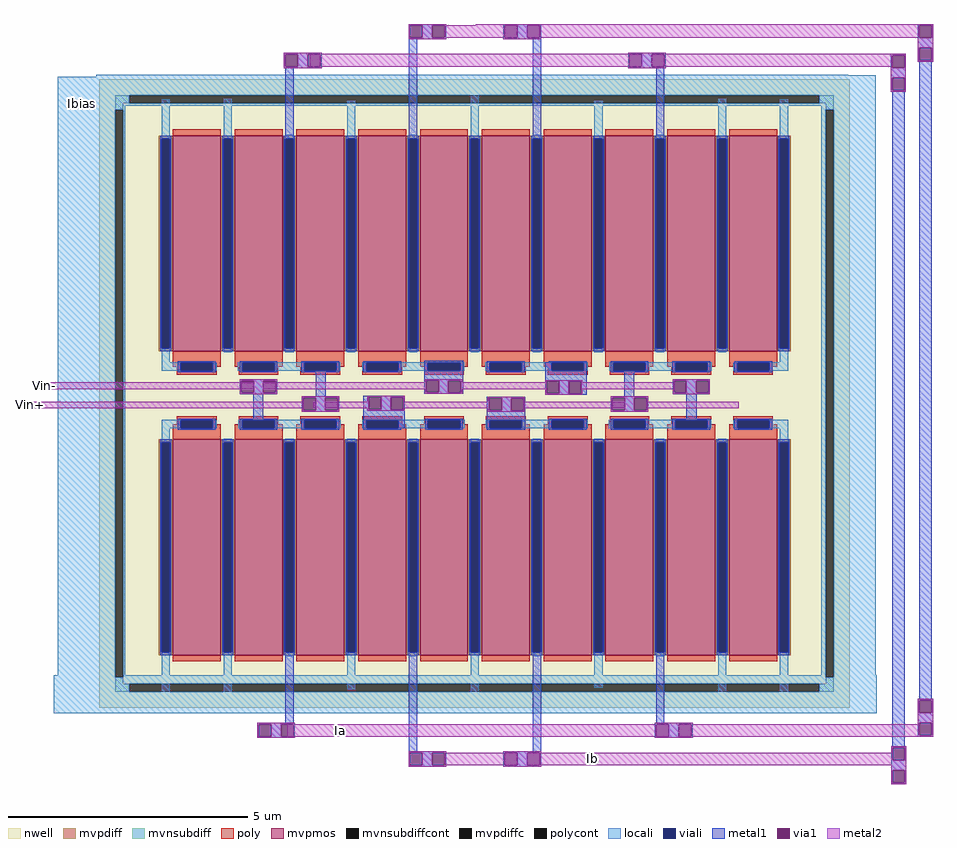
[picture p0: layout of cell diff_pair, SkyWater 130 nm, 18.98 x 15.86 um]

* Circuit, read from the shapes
.subckt diff_pair Vin+ Vin- Ibias Ia Ib
XM1 Ibias Ibias Ibias Ibias sky130_fd_pr__pfet_g5v0d10v5 w=4.5 l=1 m=4
XM2 Ia Vin- Ibias Ibias sky130_fd_pr__pfet_g5v0d10v5 w=4.5 l=1 m=8
XM3 Ib Vin+ Ibias Ibias sky130_fd_pr__pfet_g5v0d10v5 w=4.5 l=1 m=8
.ends

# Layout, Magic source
magic
tech sky130A
magscale 1 2
<< nwell >>
rect -273 -1395 2859 1227
<< mvnsubdiff >>
rect -207 1127 -147 1161
rect 2733 1127 2793 1161
rect -207 1101 -173 1127
rect -207 -1295 -173 -1269
rect 2759 1101 2793 1127
rect 2759 -1295 2793 -1269
rect -207 -1329 -147 -1295
rect 2733 -1329 2793 -1295
<< mvnsubdiffcont >>
rect -147 1127 2733 1161
rect -207 -1269 -173 1101
rect 2759 -1269 2793 1101
rect -147 -1329 2733 -1295
<< locali >>
rect -286 1244 2854 1246
rect -286 1238 2968 1244
rect -446 1161 2968 1238
rect -446 1127 -147 1161
rect 2733 1127 2968 1161
rect -446 1116 2968 1127
rect -446 1101 -164 1116
rect -446 -1260 -207 1101
rect -462 -1269 -207 -1260
rect -173 -1260 -164 1101
rect 2740 1101 2968 1116
rect 2740 -1260 2759 1101
rect -173 -1269 2759 -1260
rect 2793 -1260 2968 1101
rect 2793 -1269 2972 -1260
rect -462 -1295 2972 -1269
rect -462 -1329 -147 -1295
rect 2733 -1329 2972 -1295
rect -462 -1418 2972 -1329
<< metal1 >>
rect 3144 1452 3208 1458
rect 3144 1400 3150 1452
rect 3202 1400 3208 1452
rect 3144 1358 3208 1400
rect 3030 1328 3094 1334
rect 3030 1276 3036 1328
rect 3088 1276 3094 1328
rect 3144 1306 3150 1358
rect 3202 1306 3208 1358
rect 3144 1300 3208 1306
rect 3030 1234 3094 1276
rect 3030 1182 3036 1234
rect 3088 1182 3094 1234
rect 3030 1176 3094 1182
rect 3036 -1556 3088 1176
rect 3150 -1358 3202 1300
rect 3144 -1364 3208 -1358
rect 3144 -1416 3150 -1364
rect 3202 -1416 3208 -1364
rect 3144 -1458 3208 -1416
rect 3144 -1510 3150 -1458
rect 3202 -1510 3208 -1458
rect 3144 -1516 3208 -1510
rect 3032 -1562 3096 -1556
rect 3032 -1614 3038 -1562
rect 3090 -1614 3096 -1562
rect 3032 -1656 3096 -1614
rect 3032 -1708 3038 -1656
rect 3090 -1708 3096 -1656
rect 3032 -1714 3096 -1708
<< via1 >>
rect 3150 1400 3202 1452
rect 3036 1276 3088 1328
rect 3150 1306 3202 1358
rect 3036 1182 3088 1234
rect 3150 -1416 3202 -1364
rect 3150 -1510 3202 -1458
rect 3038 -1614 3090 -1562
rect 3038 -1708 3090 -1656
<< metal2 >>
rect 1298 1452 3208 1458
rect 1298 1400 3150 1452
rect 3202 1400 3208 1452
rect 3144 1358 3208 1400
rect 606 1328 3094 1334
rect 606 1280 3036 1328
rect 3030 1276 3036 1280
rect 3088 1276 3094 1328
rect 3144 1306 3150 1358
rect 3202 1306 3208 1358
rect 3144 1300 3208 1306
rect 3030 1234 3094 1276
rect 3030 1182 3036 1234
rect 3088 1182 3094 1234
rect 3030 1176 3094 1182
rect -534 -66 520 -38
rect -588 -146 300 -118
rect 3144 -1364 3208 -1358
rect 3144 -1416 3150 -1364
rect 3202 -1416 3208 -1364
rect 3144 -1458 3208 -1416
rect 3144 -1464 3150 -1458
rect 512 -1510 3150 -1464
rect 3202 -1510 3208 -1458
rect 512 -1516 3208 -1510
rect 3032 -1562 3096 -1556
rect 3032 -1584 3038 -1562
rect 1396 -1614 3038 -1584
rect 3090 -1614 3096 -1562
rect 1396 -1636 3096 -1614
rect 3032 -1656 3096 -1636
rect 3032 -1708 3038 -1656
rect 3090 -1708 3096 -1656
rect 3032 -1714 3096 -1708
use sky130_fd_pr__pfet_g5v0d10v5_AEQKCY  sky130_fd_pr__pfet_g5v0d10v5_AEQKCY_0
transform 1 0 134 0 -1 -690
box -224 -514 224 640
use sky130_fd_pr__pfet_g5v0d10v5_AEQKCY  sky130_fd_pr__pfet_g5v0d10v5_AEQKCY_1
transform -1 0 2456 0 -1 -690
box -224 -514 224 640
use sky130_fd_pr__pfet_g5v0d10v5_AEQKCY  sky130_fd_pr__pfet_g5v0d10v5_AEQKCY_2
transform 1 0 134 0 1 506
box -224 -514 224 640
use sky130_fd_pr__pfet_g5v0d10v5_AEQKCY  sky130_fd_pr__pfet_g5v0d10v5_AEQKCY_3
transform -1 0 2456 0 1 506
box -224 -514 224 640
use sky130_fd_pr__pfet_g5v0d10v5_PDQKC8  sky130_fd_pr__pfet_g5v0d10v5_PDQKC8_0
transform -1 0 1295 0 -1 -690
box -645 -596 675 952
use sky130_fd_pr__pfet_g5v0d10v5_PDQKC8  sky130_fd_pr__pfet_g5v0d10v5_PDQKC8_1
transform 1 0 1295 0 1 506
box -645 -596 675 952
use sky130_fd_pr__pfet_g5v0d10v5_QCQKCQ  sky130_fd_pr__pfet_g5v0d10v5_QCQKCQ_0
transform -1 0 521 0 -1 -690
box -353 -666 353 832
use sky130_fd_pr__pfet_g5v0d10v5_QCQKCQ  sky130_fd_pr__pfet_g5v0d10v5_QCQKCQ_1
transform 1 0 2069 0 -1 -690
box -353 -666 353 832
use sky130_fd_pr__pfet_g5v0d10v5_QCQKCQ  sky130_fd_pr__pfet_g5v0d10v5_QCQKCQ_2
transform 1 0 521 0 1 506
box -353 -666 353 832
use sky130_fd_pr__pfet_g5v0d10v5_QCQKCQ  sky130_fd_pr__pfet_g5v0d10v5_QCQKCQ_3
transform -1 0 2069 0 1 506
box -353 -666 353 832
<< labels >>
flabel metal2 -574 -136 -548 -126 0 FreeSans 1600 0 0 0 Vin+
port 5 nsew
flabel metal2 -508 -62 -496 -40 0 FreeSans 1600 0 0 0 Vin-
port 7 nsew
flabel locali -386 1066 -306 1188 0 FreeSans 1600 0 0 0 Ibias
port 9 nsew
flabel metal2 720 -1500 750 -1484 0 FreeSans 1600 0 0 0 Ia
port 11 nsew
flabel metal2 1746 -1624 1822 -1594 0 FreeSans 1600 0 0 0 Ib
port 13 nsew
<< end >>

# cell sky130_fd_pr__pfet_g5v0d10v5_AEQKCY: kit device sky130_fd_pr__pfet_g5v0d10v5, w 4.5 l 1 m 1 nf 1 diffcov 100 polycov 80 guard 0 glc 0 grc 0 gtc 1 gbc 1 tbcov 100 rlcov 100 topc 0 botc 1 poverlap 0 doverlap 1 lmin 0.50 wmin 0.42 class mosfet compatible {sky130_fd_pr__pfet_01v8 sky130_fd_pr__pfet_01v8_lvt sky130_fd_pr__pfet_01v8_hvt sky130_fd_pr__pfet_g5v0d10v5} full_metal 1 viasrc 100 viadrn 100 viagate 80 viagb 0 viagr 0 viagl 0 viagt 0

# cell sky130_fd_pr__pfet_g5v0d10v5_PDQKC8: kit device sky130_fd_pr__pfet_g5v0d10v5, w 4.5 l 1 m 1 nf 4 diffcov 100 polycov 80 guard 0 glc 0 grc 0 gtc 1 gbc 1 tbcov 100 rlcov 100 topc 0 botc 1 poverlap 0 doverlap 1 lmin 0.50 wmin 0.42 class mosfet compatible {sky130_fd_pr__pfet_01v8 sky130_fd_pr__pfet_01v8_lvt sky130_fd_pr__pfet_01v8_hvt sky130_fd_pr__pfet_g5v0d10v5} full_metal 1 viasrc 100 viadrn 100 viagate 80 viagb 0 viagr 0 viagl 0 viagt 0

# cell sky130_fd_pr__pfet_g5v0d10v5_QCQKCQ: kit device sky130_fd_pr__pfet_g5v0d10v5, w 4.5 l 1 m 1 nf 2 diffcov 100 polycov 80 guard 0 glc 0 grc 0 gtc 1 gbc 1 tbcov 100 rlcov 100 topc 0 botc 1 poverlap 0 doverlap 1 lmin 0.50 wmin 0.42 class mosfet compatible {sky130_fd_pr__pfet_01v8 sky130_fd_pr__pfet_01v8_lvt sky130_fd_pr__pfet_01v8_hvt sky130_fd_pr__pfet_g5v0d10v5} full_metal 1 viasrc 100 viadrn 100 viagate 80 viagb 0 viagr 0 viagl 0 viagt 0
